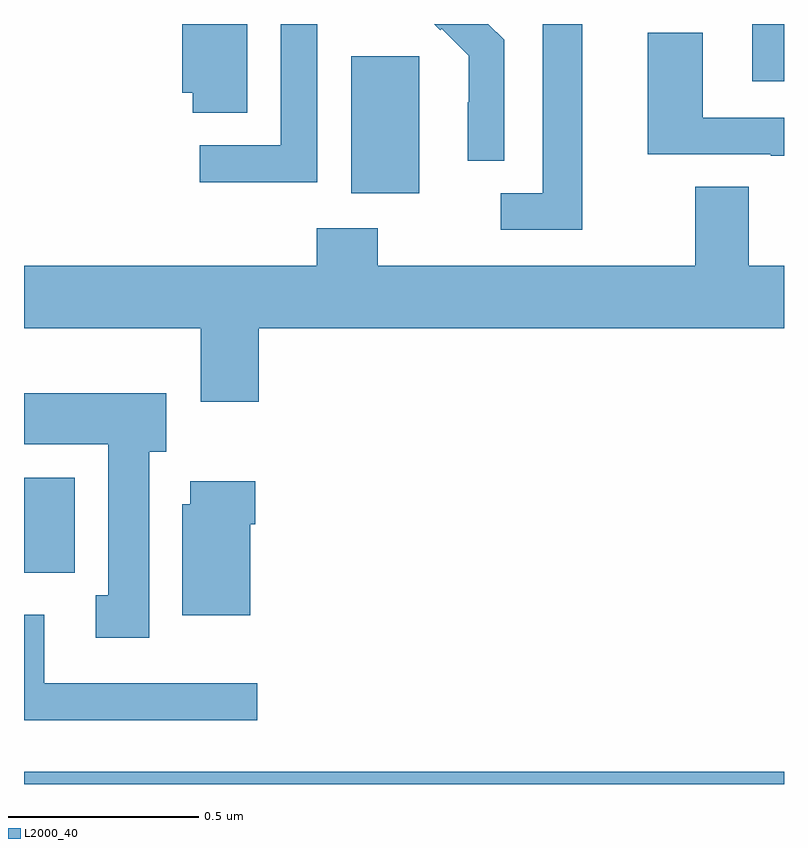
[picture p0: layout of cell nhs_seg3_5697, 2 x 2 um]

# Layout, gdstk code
import gdstk
lib = gdstk.Library(unit=1e-6, precision=1e-09)
def R(c, l, rs):  # rectangles x0, y0, x1, y1
    for r in rs: c.add(gdstk.rectangle(r[:2], r[2:], *l))
def P(c, l, *ps):  # polygons
    for p in ps: c.add(gdstk.Polygon(p, *l))
L2000_40 = (2000, 40)

nhs_seg3_5697 = lib.new_cell('nhs_seg3_5697')
R(nhs_seg3_5697, L2000_40, [(182,682.4,184,682.432), (182,682.956,182.133,683.206), (182.861,683.954,183.04,684.315), (183.917,684.249,184,684.4)])
P(nhs_seg3_5697, L2000_40, [(182.587,684.4),(182.417,684.4),(182.417,684.219),(182.444,684.219),(182.444,684.166),(182.587,684.166)],
  [(182.772,684.4),(182.676,684.4),(182.676,684.081),(182.463,684.081),(182.463,683.983),(182.772,683.983)],
  [(183.264,684.358),(183.222,684.4),(183.08,684.4),(183.096,684.384),(183.099,684.387),(183.17,684.317),(183.17,684.194),(183.168,684.194),(183.168,684.04),(183.264,684.04)],
  [(183.469,684.4),(183.365,684.4),(183.365,683.955),(183.255,683.955),(183.255,683.859),(183.469,683.859)],
  [(184,684.153),(183.786,684.153),(183.786,684.377),(183.641,684.377),(183.641,684.057),(183.965,684.057),(183.965,684.053),(184,684.053)],
  [(182.618,683.6),(184,683.6),(184,683.764),(183.907,683.764),(183.907,683.972),(183.767,683.972),(183.767,683.764),(182.931,683.764),(182.931,683.863),(182.771,683.863),(182.771,683.764),(182,683.764),(182,683.6),(182.465,683.6),(182.465,683.406),(182.618,683.406)],
  [(182.329,683.274),(182.374,683.274),(182.374,683.428),(182,683.428),(182,683.294),(182.222,683.294),(182.222,682.897),(182.189,682.897),(182.189,682.785),(182.329,682.785)],
  [(182.596,683.084),(182.609,683.084),(182.609,683.197),(182.438,683.197),(182.438,683.136),(182.417,683.136),(182.417,682.844),(182.596,682.844)],
  [(182.614,682.665),(182.053,682.665),(182.053,682.846),(182,682.846),(182,682.568),(182.614,682.568)])

lib.write_gds('nhs_seg3_5697.gds')
